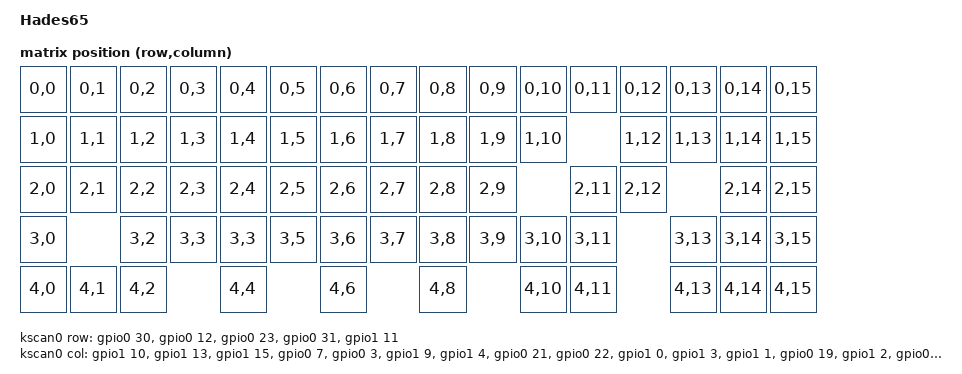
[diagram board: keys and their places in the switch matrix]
/*
 * Copyright (c) 2021 Nick Winans
 *
 * SPDX-License-Identifier: MIT
 */

/dts-v1/;
#include <nordic/nrf52840_qiaa.dtsi>
#include <dt-bindings/zmk/matrix_transform.h>

/ {
	model = "Hades65";
	compatible = "hades65,b";

	chosen {
		zephyr,code-partition = &code_partition;
		zephyr,sram = &sram0;
		zephyr,flash = &flash0;
		zmk,kscan = &kscan0;
		zmk,matrix_transform = &default_transform;
        zmk,underglow = &led_strip;
	};

	default_transform: keymap_transform_0 {
		compatible = "zmk,matrix-transform";
		columns = <15>;
		rows = <5>;
        map = <
            RC(0,0) RC(0,1) RC(0,2) RC(0,3) RC(0,4) RC(0,5) RC(0,6) RC(0,7) RC(0,8) RC(0,9) RC(0,10) RC(0,11) RC(0,12) RC(0,13) RC(0,14) RC(0,15)
            RC(1,0) RC(1,1) RC(1,2) RC(1,3) RC(1,4) RC(1,5) RC(1,6) RC(1,7) RC(1,8) RC(1,9) RC(1,10)          RC(1,12) RC(1,13) RC(1,14) RC(1,15) 
            RC(2,0) RC(2,1) RC(2,2) RC(2,3) RC(2,4) RC(2,5) RC(2,6) RC(2,7) RC(2,8) RC(2,9)          RC(2,11) RC(2,12)          RC(2,14) RC(2,15)
            RC(3,0)         RC(3,2) RC(3,3) RC(3,3) RC(3,5) RC(3,6) RC(3,7) RC(3,8) RC(3,9) RC(3,10) RC(3,11)          RC(3,13) RC(3,14) RC(3,15)
            RC(4,0) RC(4,1) RC(4,2)         RC(4,4)         RC(4,6)         RC(4,8)         RC(4,10) RC(4,11)          RC(4,13) RC(4,14) RC(4,15)
        >;
    };

	kscan0: kscan {
		compatible = "zmk,kscan-gpio-matrix";
		label = "KSCAN";

		diode-direction = "col2row";
		row-gpios
			= <&gpio0 30 (GPIO_ACTIVE_HIGH | GPIO_PULL_DOWN)> // row 0
			, <&gpio0 12 (GPIO_ACTIVE_HIGH | GPIO_PULL_DOWN)> // row 1
			, <&gpio0 23 (GPIO_ACTIVE_HIGH | GPIO_PULL_DOWN)> // row 2
			, <&gpio0 31 (GPIO_ACTIVE_HIGH | GPIO_PULL_DOWN)> // row 3
			, <&gpio1 11 (GPIO_ACTIVE_HIGH | GPIO_PULL_DOWN)> // row 4
			;
		col-gpios
			= <&gpio1 10 GPIO_ACTIVE_HIGH> // col 0
			, <&gpio1 13 GPIO_ACTIVE_HIGH> // col 1
			, <&gpio1 15 GPIO_ACTIVE_HIGH> // col 2
			, <&gpio0 7 GPIO_ACTIVE_HIGH> // col 3
			, <&gpio0 3 GPIO_ACTIVE_HIGH> // col 4
			, <&gpio1 9 GPIO_ACTIVE_HIGH> // col 5
			, <&gpio1 4 GPIO_ACTIVE_HIGH> // col 6
			, <&gpio0 21 GPIO_ACTIVE_HIGH> // col 7
			, <&gpio0 22 GPIO_ACTIVE_HIGH> // col 8
			, <&gpio1 0 GPIO_ACTIVE_HIGH> // col 9
			, <&gpio1 3 GPIO_ACTIVE_HIGH> // col 10
			, <&gpio1 1 GPIO_ACTIVE_HIGH> // col 11
			, <&gpio0 19 GPIO_ACTIVE_HIGH> // col 12
			, <&gpio1 2 GPIO_ACTIVE_HIGH> // col 13
			, <&gpio0 9 GPIO_ACTIVE_HIGH> // col 14
			, <&gpio0 10 GPIO_ACTIVE_HIGH> // col 15
			;
	};

	leds {
		compatible = "gpio-leds";
		blue_led: led_0 {
			gpios = <&gpio1 6 GPIO_ACTIVE_HIGH>;
			label = "Blue LED";
		};
	};

	ext-power {
		compatible = "zmk,ext-power-generic";
		label = "EXT_POWER";
		control-gpios = <&gpio0 29 GPIO_ACTIVE_LOW>;
	};

	vbatt {
		compatible = "zmk,battery-voltage-divider";
		label = "BATTERY";
		io-channels = <&adc 3>;
		output-ohms = <2000000>;
		full-ohms = <(2000000 + 820000)>;
	};
};

&adc {
	status = "okay";
};

&gpiote {
	status = "okay";
};

&gpio0 {
	status = "okay";
};

&gpio1 {
	status = "okay";
};

&usbd {
	status = "okay";
};

&uart0 {
	compatible = "nordic,nrf-uarte";
	tx-pin = <6>;
	rx-pin = <8>;
};

&spi1 {
    compatible = "nordic,nrf-spim";
    status = "okay";
    // WS2812B pinout (PX.Y = 32*X+Y)
    mosi-pin = <4>;
    // Unused pins, needed for SPI definition, but not used by the ws2812 driver itself.
    sck-pin = <15>;
    miso-pin = <16>;

    led_strip: ws2812@0 {
        compatible = "worldsemi,ws2812-spi";
        label = "WS2812";

        /* SPI */
        reg = <0>; /* ignored, but necessary for SPI bindings */
        spi-max-frequency = <4000000>;

        /* WS2812 */
        chain-length = <20>; /* number of LEDs */
        spi-one-frame = <0x70>;
        spi-zero-frame = <0x40>;
    };
};

&flash0 {
	/*
	 * For more information, see:
	 * http://docs.zephyrproject.org/latest/devices/dts/flash_partitions.html
	 */
	partitions {
		compatible = "fixed-partitions";
		#address-cells = <1>;
		#size-cells = <1>;

		sd_partition: partition@0 {
			label = "mbr";
			reg = <0x00000000 0x00001000>;
		};

		code_partition: partition@1000 {
			label = "code_partition";
			reg = <0x00001000 0x000d3000>;
		};

		/*
		 * The flash starting at 0x000d4000 and ending at
		 * 0x000f3fff is reserved for use by the application.
		 */

		/*
		 * Storage partition will be used by FCB/LittleFS/NVS
		 * if enabled.
		 */
		storage_partition: partition@d4000 {
			label = "storage";
			reg = <0x000d4000 0x00020000>;
		};

		boot_partition: partition@f4000 {
			label = "adafruit_boot";
			reg = <0x000f4000 0x0000c000>;
		};
	};
};
